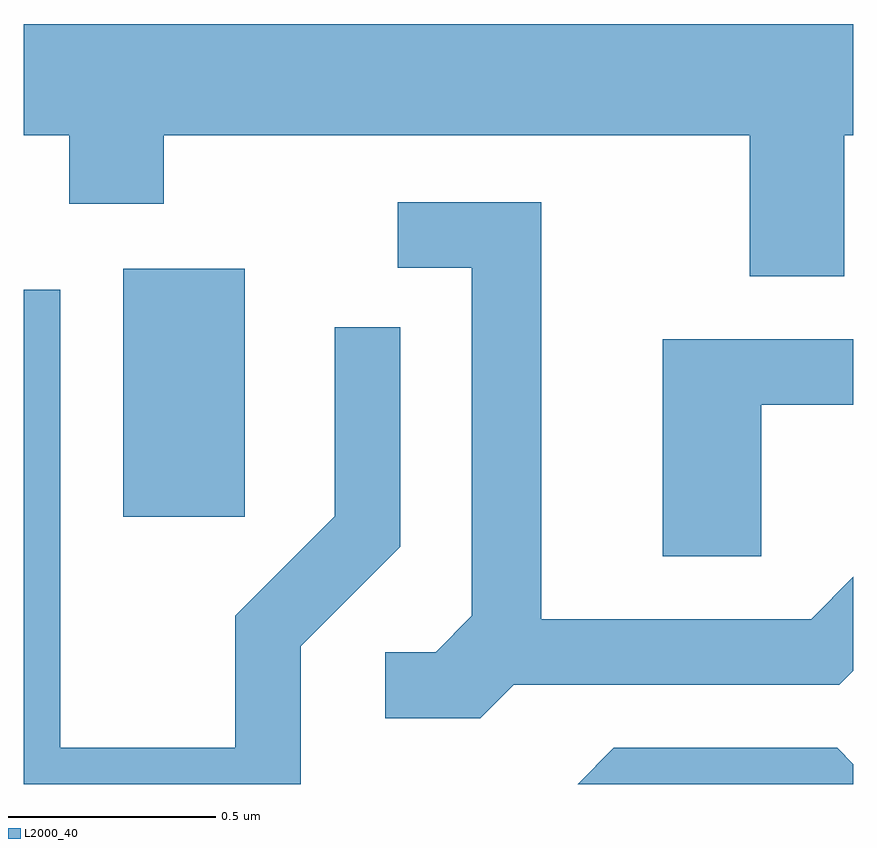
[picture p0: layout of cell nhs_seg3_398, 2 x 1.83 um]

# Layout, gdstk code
import gdstk
lib = gdstk.Library(unit=1e-6, precision=1e-09)
def R(c, l, rs):  # rectangles x0, y0, x1, y1
    for r in rs: c.add(gdstk.rectangle(r[:2], r[2:], *l))
def P(c, l, *ps):  # polygons
    for p in ps: c.add(gdstk.Polygon(p, *l))
L2000_40 = (2000, 40)

nhs_seg3_398 = lib.new_cell('nhs_seg3_398')
R(nhs_seg3_398, L2000_40, [(187.851,1240.536,188.144,1241.134)])
P(nhs_seg3_398, L2000_40, [(189.589,1241.456),(189.611,1241.456),(189.611,1241.724),(187.611,1241.724),(187.611,1241.456),(187.721,1241.456),(187.721,1241.291),(187.949,1241.291),(187.949,1241.456),(189.361,1241.456),(189.361,1241.116),(189.589,1241.116)],
  [(188.792,1240.131),(189.577,1240.131),(189.611,1240.165),(189.611,1240.392),(189.509,1240.289),(188.859,1240.289),(188.859,1241.294),(188.513,1241.294),(188.513,1241.136),(188.691,1241.136),(188.691,1240.297),(188.604,1240.209),(188.483,1240.209),(188.483,1240.051),(188.712,1240.051)],
  [(188.279,1240.224),(188.519,1240.464),(188.519,1240.993),(188.361,1240.993),(188.361,1240.537),(188.121,1240.297),(188.121,1239.979),(187.699,1239.979),(187.699,1241.084),(187.611,1241.084),(187.611,1239.892),(188.279,1239.892)],
  [(189.389,1240.806),(189.611,1240.806),(189.611,1240.964),(189.151,1240.964),(189.151,1240.441),(189.389,1240.441)],
  [(189.611,1239.94),(189.572,1239.979),(189.034,1239.979),(188.947,1239.892),(189.611,1239.892)])

lib.write_gds('nhs_seg3_398.gds')
